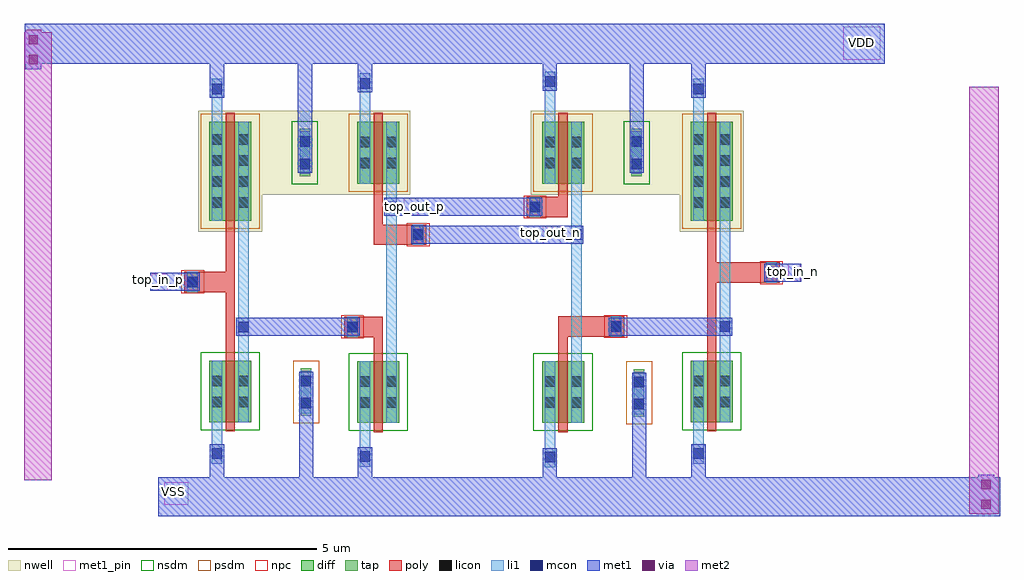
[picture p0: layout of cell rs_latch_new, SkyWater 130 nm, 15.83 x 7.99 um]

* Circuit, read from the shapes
.subckt rs_latch_new VDD VSS top_in_n top_in_p top_out_n top_out_p
XM1 n1 top_in_p VSS VSS sky130_fd_pr__nfet_01v8 w=1 l=0.15
XM2 top_out_p n1 VSS VSS sky130_fd_pr__nfet_01v8 w=1 l=0.15
XM3 top_out_n n2 VSS VSS sky130_fd_pr__nfet_01v8 w=1 l=0.15
XM4 n2 top_in_n VSS VSS sky130_fd_pr__nfet_01v8 w=1 l=0.15
XM5 n1 top_in_p VDD VDD sky130_fd_pr__pfet_01v8 w=1.6 l=0.15
XM6 top_out_p top_out_n VDD VDD sky130_fd_pr__pfet_01v8 w=1 l=0.15
XM7 top_out_n top_out_p VDD VDD sky130_fd_pr__pfet_01v8 w=1 l=0.15
XM8 n2 top_in_n VDD VDD sky130_fd_pr__pfet_01v8 w=1.6 l=0.15
.ends

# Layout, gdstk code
import gdstk
lib = gdstk.Library(unit=1e-6, precision=1e-09)
def R(c, l, rs):  # rectangles x0, y0, x1, y1
    for r in rs: c.add(gdstk.rectangle(r[:2], r[2:], *l))
def A(c, l, x, y, w, h, nx, ny, dx, dy):  # array of equal rectangles
    R(c, l, [(x+i*dx, y+j*dy, x+i*dx+w, y+j*dy+h) for i in range(nx) for j in range(ny)])
nwell = (64, 20)
diff = (65, 20)
tap = (65, 44)
poly = (66, 20)
licon = (66, 44)
li1 = (67, 20)
mcon = (67, 44)
met1_pin = (68, 16)
met1 = (68, 20)
via = (68, 44)
met2 = (69, 20)
nsdm = (93, 44)
psdm = (94, 20)
npc = (95, 20)

pfet_01v8_cdns_730309971 = lib.new_cell('pfet_01v8_CDNS_730309971733')
R(pfet_01v8_cdns_730309971, nwell, [(-0.445,-0.18,0.595,1.18)])
R(pfet_01v8_cdns_730309971, diff, [(-0.265,0,0,1), (0,0,0.15,1), (0.15,0,0.415,1)])
R(pfet_01v8_cdns_730309971, poly, [(0,-0.15,0.15,-0.095), (0,-0.095,0.15,0), (0,0,0.15,1), (0,1,0.15,1.095), (0,1.095,0.15,1.15)])
R(pfet_01v8_cdns_730309971, licon, [(-0.225,0.245,-0.055,0.415), (0.205,0.245,0.375,0.415), (-0.225,0.585,-0.055,0.755), (0.205,0.585,0.375,0.755)])
R(pfet_01v8_cdns_730309971, li1, [(-0.225,0,-0.055,1), (0.205,0,0.375,1)])
R(pfet_01v8_cdns_730309971, psdm, [(-0.405,-0.13,0.555,1.13)])

nfet_01v8_cdns_730309971 = lib.new_cell('nfet_01v8_CDNS_730309971734')
R(nfet_01v8_cdns_730309971, diff, [(-0.265,0,0,1), (0,0,0.15,1), (0.15,0,0.415,1)])
R(nfet_01v8_cdns_730309971, poly, [(0,-0.15,0.15,-0.095), (0,-0.095,0.15,0), (0,0,0.15,1), (0,1,0.15,1.095), (0,1.095,0.15,1.15)])
R(nfet_01v8_cdns_730309971, licon, [(-0.225,0.245,-0.055,0.415), (0.205,0.245,0.375,0.415), (-0.225,0.585,-0.055,0.755), (0.205,0.585,0.375,0.755)])
R(nfet_01v8_cdns_730309971, li1, [(-0.225,0,-0.055,1), (0.205,0,0.375,1)])
R(nfet_01v8_cdns_730309971, nsdm, [(-0.405,-0.13,0.555,1.13)])

c_pfet_01v8_cdns_730309971 = lib.new_cell('pfet_01v8_CDNS_730309971735')
R(c_pfet_01v8_cdns_730309971, nwell, [(-0.445,-0.18,0.595,1.78)])
R(c_pfet_01v8_cdns_730309971, diff, [(-0.265,0,0,1.6), (0,0,0.15,1.6), (0.15,0,0.415,1.6)])
R(c_pfet_01v8_cdns_730309971, poly, [(0,-0.15,0.15,-0.095), (0,-0.095,0.15,0), (0,0,0.15,1.6), (0,1.6,0.15,1.695), (0,1.695,0.15,1.75)])
A(c_pfet_01v8_cdns_730309971, licon, -0.225, 0.205, 0.17, 0.17, 1, 4, 0, 0.34)
A(c_pfet_01v8_cdns_730309971, licon, 0.205, 0.205, 0.17, 0.17, 1, 4, 0, 0.34)
R(c_pfet_01v8_cdns_730309971, li1, [(-0.225,0,-0.055,1.6), (0.205,0,0.375,1.6)])
R(c_pfet_01v8_cdns_730309971, psdm, [(-0.405,-0.13,0.555,1.73)])

polyconn_cdns_7303099717 = lib.new_cell('polyConn_CDNS_730309971730')
R(polyconn_cdns_7303099717, poly, [(-0.135,-0.165,0.135,0.165)])
R(polyconn_cdns_7303099717, licon, [(-0.085,-0.085,0.085,0.085)])
R(polyconn_cdns_7303099717, li1, [(-0.085,-0.165,0.085,0.165)])
R(polyconn_cdns_7303099717, mcon, [(-0.085,-0.085,0.085,0.085)])
R(polyconn_cdns_7303099717, met1, [(-0.115,-0.145,0.115,0.145)])
R(polyconn_cdns_7303099717, npc, [(-0.185,-0.185,0.185,0.185)])

nwelltap_cdns_7303099717 = lib.new_cell('nwellTap_CDNS_730309971731')
R(nwelltap_cdns_7303099717, nwell, [(-0.265,-0.565,0.265,0.565)])
R(nwelltap_cdns_7303099717, tap, [(-0.085,-0.385,0.085,0.385)])
R(nwelltap_cdns_7303099717, licon, [(-0.085,-0.265,0.085,-0.095), (-0.085,0.095,0.085,0.265)])
R(nwelltap_cdns_7303099717, li1, [(-0.085,-0.345,0.085,0.345)])
R(nwelltap_cdns_7303099717, mcon, [(-0.085,-0.265,0.085,-0.095), (-0.085,0.095,0.085,0.265)])
R(nwelltap_cdns_7303099717, met1, [(-0.115,-0.325,0.115,0.325)])
R(nwelltap_cdns_7303099717, nsdm, [(-0.21,-0.51,0.21,0.51)])

subtap_cdns_730309971732 = lib.new_cell('subTap_CDNS_730309971732')
R(subtap_cdns_730309971732, tap, [(-0.085,-0.385,0.085,0.385)])
R(subtap_cdns_730309971732, licon, [(-0.085,-0.265,0.085,-0.095), (-0.085,0.095,0.085,0.265)])
R(subtap_cdns_730309971732, li1, [(-0.085,-0.345,0.085,0.345)])
R(subtap_cdns_730309971732, mcon, [(-0.085,-0.265,0.085,-0.095), (-0.085,0.095,0.085,0.265)])
R(subtap_cdns_730309971732, met1, [(-0.115,-0.325,0.115,0.325)])
R(subtap_cdns_730309971732, psdm, [(-0.21,-0.51,0.21,0.51)])

l1m1_c_cdns_736669032860 = lib.new_cell('L1M1_C_CDNS_736669032860')
R(l1m1_c_cdns_736669032860, li1, [(-0.085,-0.165,0.085,0.165)])
R(l1m1_c_cdns_736669032860, mcon, [(-0.085,-0.085,0.085,0.085)])
R(l1m1_c_cdns_736669032860, met1, [(-0.115,-0.145,0.115,0.145)])

m1m2_c_cdns_736669032861 = lib.new_cell('M1M2_C_CDNS_736669032861')
R(m1m2_c_cdns_736669032861, met1, [(-0.13,-0.32,0.13,0.32)])
R(m1m2_c_cdns_736669032861, via, [(-0.075,-0.235,0.075,-0.085), (-0.075,0.085,0.075,0.235)])
R(m1m2_c_cdns_736669032861, met2, [(-0.13,-0.32,0.13,0.32)])

rs_latch_new = lib.new_cell('rs_latch_new')
R(rs_latch_new, nwell, [(1.725,2.245,3.21,3.605), (7.135,2.245,8.56,3.605)])
R(rs_latch_new, poly, [(3.575,-0.33,3.725,-0.165), (6.57,-0.305,6.72,0.27), (1.175,-0.295,1.325,1.675), (8.98,-0.295,9.13,1.675), (3.575,-0.165,3.725,-0.065), (3.365,-0.065,3.725,0.265), (6.72,-0.06,7.365,0.27), (0.775,0.665,1.175,0.995), (9.13,0.815,9.89,1.145), (3.575,1.43,3.725,2.275), (3.725,1.43,4.16,1.76), (6.325,1.88,6.57,2.21), (6.57,1.88,6.72,2.275)])
R(rs_latch_new, li1, [(6.345,-1.845,6.515,-1.455), (3.35,-1.835,3.52,-1.455), (0.95,-1.785,1.12,-1.445), (8.755,-1.785,8.925,-1.445), (3.78,-0.455,3.95,1.88), (6.775,-0.455,6.945,1.43), (1.38,-0.445,1.55,1.825), (9.185,-0.445,9.355,1.825), (6.775,1.76,6.945,2.425), (3.78,2.21,3.95,2.425), (0.95,3.425,1.12,3.795), (3.35,3.425,3.52,3.885), (6.345,3.425,6.515,3.91), (8.755,3.425,8.925,3.795)])
R(rs_latch_new, met1_pin, [(0.175,-2.785,0.565,-2.42), (-0.02,0.695,0.235,0.965), (10.295,0.84,10.49,1.125), (6.32,1.45,6.6,1.735), (4.06,1.91,4.295,2.185), (11.185,4.43,11.79,4.965)])
R(rs_latch_new, met1, [(0.085,-2.97,13.73,-2.34), (0.92,-2.34,1.15,-2.095), (2.365,-2.34,2.595,-1.28), (3.32,-2.34,3.55,-2.145), (6.315,-2.34,6.545,-2.155), (7.765,-2.34,7.995,-1.295), (8.725,-2.34,8.955,-2.095), (1.58,-0.045,3.115,0.245), (7.615,-0.04,9.155,0.25), (-0.05,0.685,0.525,0.975), (10.14,0.835,10.51,1.125), (4.41,1.45,6.745,1.74), (3.98,1.9,6.075,2.19), (2.345,3.25,2.575,4.37), (7.725,3.25,7.955,4.37), (0.92,4.105,1.15,4.37), (8.725,4.105,8.955,4.37), (3.32,4.195,3.55,4.37), (6.315,4.22,6.545,4.37), (-2.085,4.37,11.86,5.015)])
R(rs_latch_new, met2, [(13.23,-2.93,13.71,3.99), (-2.095,-2.385,-1.645,4.875)])
rs_latch_new.add(gdstk.Reference(pfet_01v8_cdns_730309971, (3.575,2.425)))
rs_latch_new.add(gdstk.Reference(pfet_01v8_cdns_730309971, (6.57,2.425)))
rs_latch_new.add(gdstk.Reference(nfet_01v8_cdns_730309971, (1.175,-1.445)))
rs_latch_new.add(gdstk.Reference(nfet_01v8_cdns_730309971, (3.575,-1.455)))
rs_latch_new.add(gdstk.Reference(nfet_01v8_cdns_730309971, (6.57,-1.455)))
rs_latch_new.add(gdstk.Reference(nfet_01v8_cdns_730309971, (8.98,-1.445)))
rs_latch_new.add(gdstk.Reference(c_pfet_01v8_cdns_730309971, (1.175,1.825)))
rs_latch_new.add(gdstk.Reference(c_pfet_01v8_cdns_730309971, (8.98,1.825)))
rs_latch_new.add(gdstk.Reference(polyconn_cdns_7303099717, (3.23,0.1)))
rs_latch_new.add(gdstk.Reference(polyconn_cdns_7303099717, (6.19,2.045)))
rs_latch_new.add(gdstk.Reference(polyconn_cdns_7303099717, (4.295,1.595)))
rs_latch_new.add(gdstk.Reference(polyconn_cdns_7303099717, (7.5,0.105)))
rs_latch_new.add(gdstk.Reference(polyconn_cdns_7303099717, (0.64,0.83)))
rs_latch_new.add(gdstk.Reference(polyconn_cdns_7303099717, (10.025,0.98)))
rs_latch_new.add(gdstk.Reference(nwelltap_cdns_7303099717, (2.46,2.925)))
rs_latch_new.add(gdstk.Reference(nwelltap_cdns_7303099717, (7.84,2.925)))
rs_latch_new.add(gdstk.Reference(subtap_cdns_730309971732, (2.48,-0.955)))
rs_latch_new.add(gdstk.Reference(subtap_cdns_730309971732, (7.88,-0.97)))
rs_latch_new.add(gdstk.Reference(l1m1_c_cdns_736669032860, (1.035,3.96)))
rs_latch_new.add(gdstk.Reference(l1m1_c_cdns_736669032860, (1.035,-1.95)))
rs_latch_new.add(gdstk.Reference(l1m1_c_cdns_736669032860, (1.465,0.1)))
rs_latch_new.add(gdstk.Reference(l1m1_c_cdns_736669032860, (3.435,-2)))
rs_latch_new.add(gdstk.Reference(l1m1_c_cdns_736669032860, (3.435,4.05)))
rs_latch_new.add(gdstk.Reference(l1m1_c_cdns_736669032860, (6.43,4.075)))
rs_latch_new.add(gdstk.Reference(l1m1_c_cdns_736669032860, (3.865,2.045)))
rs_latch_new.add(gdstk.Reference(l1m1_c_cdns_736669032860, (6.86,1.595)))
rs_latch_new.add(gdstk.Reference(l1m1_c_cdns_736669032860, (6.43,-2.01)))
rs_latch_new.add(gdstk.Reference(l1m1_c_cdns_736669032860, (8.84,3.96)))
rs_latch_new.add(gdstk.Reference(l1m1_c_cdns_736669032860, (8.84,-1.95)))
rs_latch_new.add(gdstk.Reference(l1m1_c_cdns_736669032860, (9.27,0.105)))
rs_latch_new.add(gdstk.Reference(m1m2_c_cdns_736669032861, (13.505,-2.615)))
rs_latch_new.add(gdstk.Reference(m1m2_c_cdns_736669032861, (-1.945,4.595)))
rs_latch_new.add(gdstk.Label('VDD', (11.49,4.715), layer=68, texttype=5))
rs_latch_new.add(gdstk.Label('top_in_p', (0.085,0.875), layer=68, texttype=5))
rs_latch_new.add(gdstk.Label('top_in_n', (10.38,1.005), layer=68, texttype=5))
rs_latch_new.add(gdstk.Label('top_out_p', (4.23,2.06), layer=68, texttype=5))
rs_latch_new.add(gdstk.Label('top_out_n', (6.44,1.63), layer=68, texttype=5))
rs_latch_new.add(gdstk.Label('VSS', (0.325,-2.565), layer=68, texttype=5))

lib.write_gds('rs_latch_new.gds')
